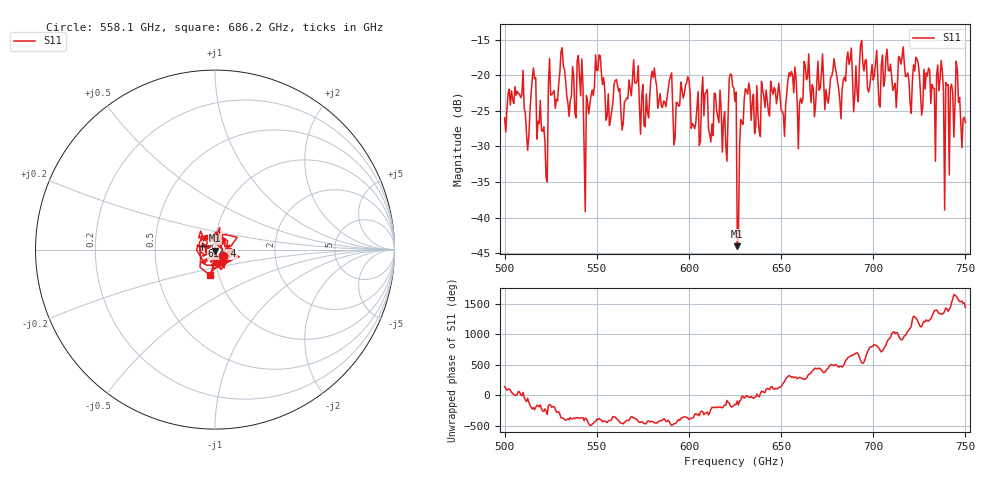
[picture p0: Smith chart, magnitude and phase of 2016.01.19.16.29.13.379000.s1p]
!Created with skrf (http://scikit-rf.org).
# GHz S RI R 50.0
!freq ReS11 ImS11
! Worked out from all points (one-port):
!   401 points, 500 GHz to 750 GHz, reference 50 ohm
!   lowest |S11| = -44.0 dB at 626.2 GHz (marker M1), VSWR 1.01, Z = 49.9 - j0.625 ohm
!   |S11| at or under -10 dB: start of sweep to end of sweep
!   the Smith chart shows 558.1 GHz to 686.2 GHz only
!   S11 on the Smith chart (normalised r, x): 558.1 GHz: 1.09, -0.08; 614.4 GHz: 0.87, +0.03; 686.2 GHz: 0.91, -0.27
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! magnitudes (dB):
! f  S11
! 500 GHz  -26.0
! 508.8 GHz  -23.2
! 512.5 GHz  -30.6
! 515.6 GHz  -19.0
! 521.9 GHz  -29.3
! 525 GHz  -22.8
! 531.2 GHz  -16.2
! 535 GHz  -25.8
! 540.6 GHz  -20.1
! 544.4 GHz  -22.9
! 550.6 GHz  -19.3
! 558.1 GHz  -25.0
! 562.5 GHz  -21.9
! 593.8 GHz  -23.9
! 614.4 GHz  -22.6
! 619.4 GHz  -25.1
! 623.1 GHz  -20.0
! 625 GHz  -23.7
! 626.2 GHz  -44.0
! 631.2 GHz  -22.2
! 651.2 GHz  -25.5
! 656.2 GHz  -20.0
! 660 GHz  -23.9
! 663.8 GHz  -20.7
! 686.2 GHz  -16.7
! 687.5 GHz  -17.8
! 718.8 GHz  -19.7
! 750 GHz  -26.6
